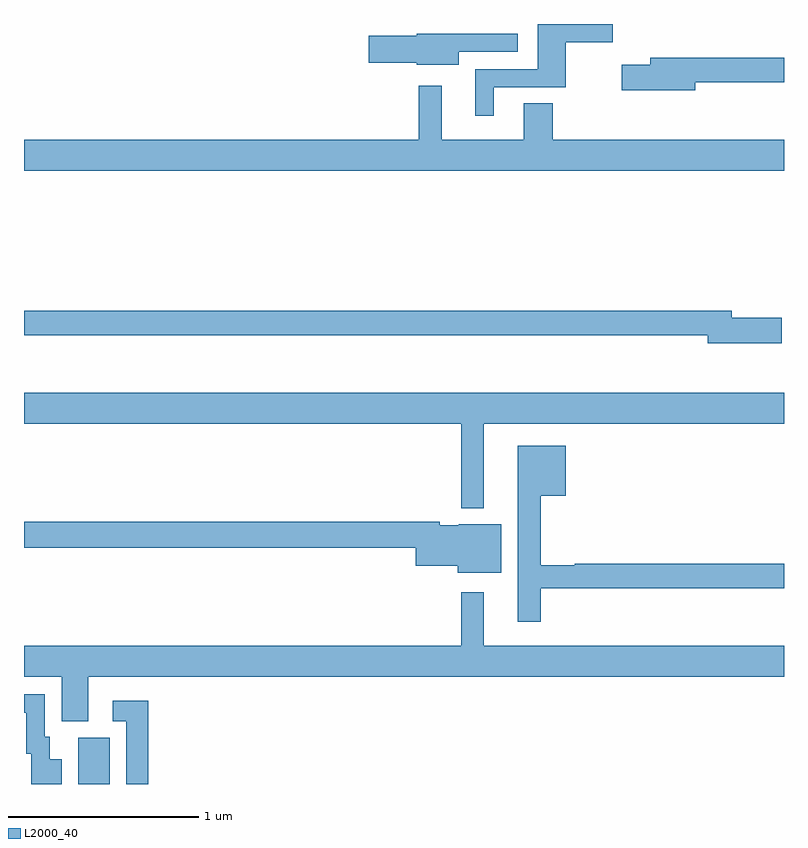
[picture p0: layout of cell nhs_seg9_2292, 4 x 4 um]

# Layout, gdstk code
import gdstk
lib = gdstk.Library(unit=1e-6, precision=1e-09)
def R(c, l, rs):  # rectangles x0, y0, x1, y1
    for r in rs: c.add(gdstk.rectangle(r[:2], r[2:], *l))
def P(c, l, *ps):  # polygons
    for p in ps: c.add(gdstk.Polygon(p, *l))
L2000_40 = (2000, 40)

nhs_seg9_2292 = lib.new_cell('nhs_seg9_2292')
R(nhs_seg9_2292, L2000_40, [(241.286,1218.5,241.45,1218.744)])
P(nhs_seg9_2292, L2000_40, [(243.472,1222.167),(243.85,1222.167),(243.85,1222.403),(244.099,1222.403),(244.099,1222.5),(243.704,1222.5),(243.704,1222.263),(243.374,1222.263),(243.374,1222.017),(243.472,1222.017)],
  [(243.289,1222.353),(243.598,1222.353),(243.598,1222.449),(243.285,1222.449),(243.285,1222.45),(243.066,1222.45),(243.066,1222.439),(242.814,1222.439),(242.814,1222.297),(243.066,1222.297),(243.066,1222.286),(243.289,1222.286)],
  [(244.534,1222.194),(245,1222.194),(245,1222.322),(244.295,1222.322),(244.295,1222.286),(244.146,1222.286),(244.146,1222.151),(244.534,1222.151)],
  [(245,1221.892),(243.782,1221.892),(243.782,1222.082),(243.629,1222.082),(243.629,1221.892),(243.199,1221.892),(243.199,1222.174),(243.078,1222.174),(243.078,1221.892),(241,1221.892),(241,1221.728),(245,1221.728)],
  [(244.987,1220.954),(244.726,1220.954),(244.726,1220.99),(241,1220.99),(241,1220.862),(244.598,1220.862),(244.598,1220.819),(244.987,1220.819)],
  [(243.421,1220.396),(245,1220.396),(245,1220.56),(241,1220.56),(241,1220.396),(243.3,1220.396),(243.3,1219.952),(243.421,1219.952)],
  [(243.721,1219.53),(245,1219.53),(245,1219.658),(243.899,1219.658),(243.899,1219.651),(243.721,1219.651),(243.721,1220.018),(243.85,1220.018),(243.85,1220.281),(243.599,1220.281),(243.599,1219.353),(243.721,1219.353)],
  [(243.511,1219.867),(243.288,1219.867),(243.288,1219.861),(243.188,1219.861),(243.188,1219.88),(241,1219.88),(241,1219.744),(243.062,1219.744),(243.062,1219.649),(243.284,1219.649),(243.284,1219.613),(243.511,1219.613)],
  [(241.339,1219.064),(245,1219.064),(245,1219.228),(243.421,1219.228),(243.421,1219.51),(243.3,1219.51),(243.3,1219.228),(241,1219.228),(241,1219.064),(241.199,1219.064),(241.199,1218.829),(241.339,1218.829)],
  [(241.198,1218.631),(241.135,1218.631),(241.135,1218.75),(241.11,1218.75),(241.11,1218.972),(241,1218.972),(241,1218.876),(241.013,1218.876),(241.013,1218.66),(241.037,1218.66),(241.037,1218.5),(241.198,1218.5)],
  [(241.655,1218.937),(241.467,1218.937),(241.467,1218.831),(241.539,1218.831),(241.539,1218.5),(241.655,1218.5)])

lib.write_gds('nhs_seg9_2292.gds')
